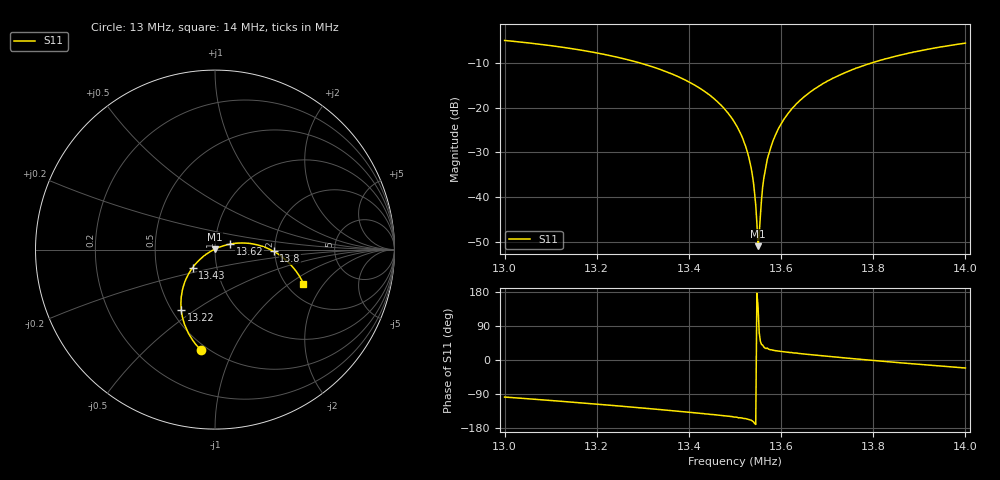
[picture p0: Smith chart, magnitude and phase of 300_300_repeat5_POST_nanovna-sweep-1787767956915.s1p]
! S11 from 300_300_repeat5_POST_nanovna-sweep-1787767956915.csv, converted by the rf-network-modeller history importer
# HZ S RI R 50
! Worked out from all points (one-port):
!   401 points, 13 MHz to 14 MHz, reference 50 ohm
!   lowest |S11| = -51.0 dB at 13.55 MHz (marker M1), VSWR 1.01, Z = 49.8 + j0.175 ohm
!   |S11| at or under -10 dB: 13.29 MHz to 13.8 MHz (501 kHz wide, 3.7 % of centre)
!   S11 on the Smith chart (normalised r, x): 13 MHz: 0.46, -0.76; 13.22 MHz: 0.56, -0.44; 13.43 MHz: 0.76, -0.16; 13.62 MHz: 1.18, +0.07; 13.8 MHz: 1.97, -0.04; 14 MHz: 2.46, -1.30
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1.3e7  -0.077 -0.561
1.3125e7  -0.1564 -0.4493
1.3225e7  -0.1878 -0.3384
1.325e7  -0.1898 -0.3088
1.332e7  -0.1812 -0.2242
1.3375e7  -0.1589 -0.159
1.34275e7  -0.125 -0.1008
1.347e7  -0.0886 -0.059
1.35e7  -0.0585 -0.033
1.352e7  -0.0367 -0.0175
1.35325e7  -0.0226 -0.00906
1.354e7  -0.014 -0.00434
1.3545e7  -0.00804 -0.00141
1.35475e7  -0.00511 0.000318
1.355e7  -0.00222 0.00175
1.35525e7  0.00111 0.00361
1.3555e7  0.00397 0.00467
1.356e7  0.01 0.00816
1.3565e7  0.0163 0.01
1.3575e7  0.0286 0.0149
1.35925e7  0.0512 0.0226
1.36175e7  0.0837 0.0305
1.3625e7  0.0941 0.0325
1.36775e7  0.1644 0.0364
1.375e7  0.2598 0.0193
1.3805e7  0.3269 -0.00992
1.3875e7  0.4006 -0.0635
1.4e7  0.4927 -0.1905
